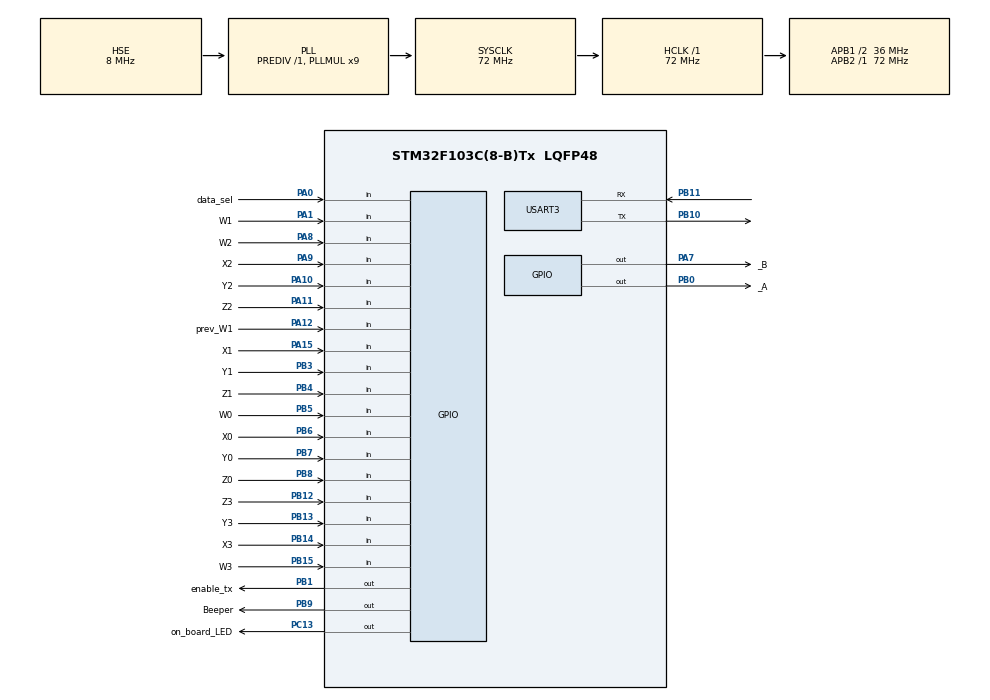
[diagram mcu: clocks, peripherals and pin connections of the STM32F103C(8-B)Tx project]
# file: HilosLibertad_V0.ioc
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Mcu.Family=STM32F1
NVIC.USART3_IRQn=true\:0\:0\:false\:false\:true\:true\:true
PB10.Mode=Asynchronous
PA10.GPIO_PuPd=GPIO_PULLDOWN
PB14.GPIO_Label=X3
PB0.GPIO_Label=_A
PB6.GPIO_Label=X0
PA11.GPIO_PuPd=GPIO_PULLDOWN
PB13.GPIO_Label=Y3
PB11.Signal=USART3_RX
PB13.Signal=GPIO_Input
PB15.Signal=GPIO_Input
RCC.SYSCLKSource=RCC_SYSCLKSOURCE_PLLCLK
ProjectManager.StackSize=0x400
PD1-OSC_OUT.Signal=RCC_OSC_OUT
PA15.GPIO_Label=X1
PA12.Signal=GPIO_Input
RCC.HCLKFreq_Value=72000000
RCC.APB2TimFreq_Value=72000000
PB6.Signal=GPIO_Input
PA1.GPIO_PuPd=GPIO_PULLDOWN
RCC.AHBFreq_Value=72000000
RCC.PLLMUL=RCC_PLL_MUL9
PB12.GPIO_Label=Z3
PB3.GPIO_PuPd=GPIO_PULLDOWN
PA14.Mode=Serial_Wire
PB1.GPIO_Label=enable_tx
PA10.GPIO_Label=Y2
PB7.Signal=GPIO_Input
PA8.Signal=GPIO_Input
PB7.GPIO_Label=Y0
Mcu.Package=LQFP48
PB9.Signal=GPIO_Output
PB14.GPIO_PuPd=GPIO_PULLDOWN
PB1.Signal=GPIO_Output
PB15.GPIO_PuPd=GPIO_PULLDOWN
PA10.Signal=GPIO_Input
PA15.Signal=GPIO_Input
PB5.GPIO_Label=W0
RCC.APB1TimFreq_Value=72000000
PA12.GPIO_PuPd=GPIO_PULLDOWN
PB4.Signal=GPIO_Input
PB3.GPIO_Label=Y1
PB7.GPIO_PuPd=GPIO_PULLDOWN
RCC.PLLSourceVirtual=RCC_PLLSOURCE_HSE
PD1-OSC_OUT.Mode=HSE-External-Oscillator
PB9.GPIO_Label=Beeper
PA9.GPIO_Label=X2
PB6.GPIO_PuPd=GPIO_NOPULL
PB8.GPIO_PuPd=GPIO_PULLDOWN
PC13-TAMPER-RTC.Signal=GPIO_Output
PA11.GPIO_Label=Z2
PD0-OSC_IN.Signal=RCC_OSC_IN
RCC.APB1CLKDivider=RCC_HCLK_DIV2
PA9.GPIO_PuPd=GPIO_PULLDOWN
PA12.GPIO_Label=prev_W1
PA0-WKUP.GPIO_Label=data_sel
PA0-WKUP.Signal=GPIO_Input
PA13.Signal=SYS_JTMS-SWDIO
PB8.GPIO_Label=Z0
PA8.GPIO_Label=W2
PB11.Mode=Asynchronous
ProjectManager.TargetToolchain=STM32CubeIDE
PA9.Signal=GPIO_Input
PB4.GPIO_PuPd=GPIO_PULLDOWN
RCC.USBFreq_Value=72000000
PA1.Signal=GPIO_Input
PD0-OSC_IN.Mode=HSE-External-Oscillator
PB10.Signal=USART3_TX
PB14.Signal=GPIO_Input
board=custom
PC13-TAMPER-RTC.GPIO_Label=on_board_LED
PB13.GPIO_PuPd=GPIO_PULLDOWN
RCC.APB2Freq_Value=72000000
PB4.GPIO_Label=Z1
PB15.GPIO_Label=W3
PA1.GPIO_Label=W1
PA13.Mode=Serial_Wire
Mcu.Name=STM32F103C(8-B)Tx
PB3.Signal=GPIO_Input
RCC.SYSCLKFreq_VALUE=72000000
PB5.Signal=GPIO_Input
PA7.GPIO_Label=_B
USART3.VirtualMode=VM_ASYNC
PB5.GPIO_PuPd=GPIO_NOPULL
PB9.PinState=GPIO_PIN_RESET
PA11.Signal=GPIO_Input
PA14.Signal=SYS_JTCK-SWCLK
ProjectManager.HeapSize=0x200
PA8.GPIO_PuPd=GPIO_PULLDOWN
NVIC.PriorityGroup=NVIC_PRIORITYGROUP_4
PA15.GPIO_PuPd=GPIO_PULLDOWN
PB8.Signal=GPIO_Input
PA0-WKUP.GPIO_PuPd=GPIO_PULLUP
PB12.GPIO_PuPd=GPIO_PULLDOWN
RCC.APB1Freq_Value=36000000
PB0.Signal=GPIO_Output
PB12.Signal=GPIO_Input
PA7.Signal=GPIO_Output

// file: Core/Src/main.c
/* USER CODE BEGIN Header */
/**
  ******************************************************************************
  * @file           : main.c
  * @brief          : Main program body
  ******************************************************************************
  * @attention
  *
  * <h2><center>&copy; Copyright (c) 2021 STMicroelectronics.
  * All rights reserved.</center></h2>
  *
  * This software component is licensed by ST under BSD 3-Clause license,
  * the "License"; You may not use this file except in compliance with the
  * License. You may obtain a copy of the License at:
  *                        opensource.org/licenses/BSD-3-Clause
  *
  ******************************************************************************
  */
/* USER CODE END Header */
#include "main.h"

/* USER CODE BEGIN Includes */
#include "alarm.h"
#include "dataSender.h"
#include "muxReader.h"
#include "pinConnections.h"
#include "timers.h"
#include "types.h"
/* USER CODE END Includes */

UART_HandleTypeDef huart3;

/* USER CODE BEGIN PV */
DS_UartInterruptionFlags uart_flags;
/* USER CODE END PV */

void SystemClock_Config(void);
static void MX_GPIO_Init(void);
static void MX_USART3_UART_Init(void);

/* USER CODE BEGIN 0 */
void HAL_UART_TxCpltCallback(UART_HandleTypeDef *huart){
    uart_flags.TxComplete = 1;
}

void HAL_UART_RxCpltCallback(UART_HandleTypeDef *huart){
    uart_flags.RxComplete = 1;
}
/* USER CODE END 0 */

int main(void)
{
  /* USER CODE BEGIN 1 */
	MuxReader reader;
	DataSender sender;

	sample new_sample;
	uint8_t already_sent_flag = 0;
  /* USER CODE END 1 */

  /* MCU Configuration--------------------------------------------------------*/

  /* Reset of all peripherals, Initializes the Flash interface and the Systick. */
  HAL_Init();

  /* Configure the system clock */
  SystemClock_Config();

  /* Initialize all configured peripherals */
  MX_GPIO_Init();
  MX_USART3_UART_Init();
  /* USER CODE BEGIN 2 */
	initMuxReader( &reader );
	initDataSender( &sender, &huart3 );
	initDS_UartInterruptionFlags( &uart_flags );
  /* USER CODE END 2 */

  /* Infinite loop */
	while( 1 ){

    /* USER CODE BEGIN 3 */
		FSM_MuxReader( &reader );
		FSM_DataSender( &sender, &uart_flags );

		// Si está listo para ser leído, y no se envió
		int aux_readerIsReady = muxReaderIsReady( &reader );
		if( aux_readerIsReady && already_sent_flag == 0 ){
			// Obtengo la lectura
			new_sample = getReadings( &reader );

			// Envío según el modo
			sendSample( &sender, new_sample );
			already_sent_flag = 1;
		}
		// Si no está listo para ser leído
		else if( !muxReaderIsReady( &reader ) ){
			// Renuevo el flag para el próximo envío de lectura
			already_sent_flag = 0;
		}
	}
  /* USER CODE END 3 */
}

void SystemClock_Config(void)
{
  RCC_OscInitTypeDef RCC_OscInitStruct = {0};
  RCC_ClkInitTypeDef RCC_ClkInitStruct = {0};

  /** Initializes the RCC Oscillators according to the specified parameters
  * in the RCC_OscInitTypeDef structure.
  */
  RCC_OscInitStruct.OscillatorType = RCC_OSCILLATORTYPE_HSE;
  RCC_OscInitStruct.HSEState = RCC_HSE_ON;
  RCC_OscInitStruct.HSEPredivValue = RCC_HSE_PREDIV_DIV1;
  RCC_OscInitStruct.HSIState = RCC_HSI_ON;
  RCC_OscInitStruct.PLL.PLLState = RCC_PLL_ON;
  RCC_OscInitStruct.PLL.PLLSource = RCC_PLLSOURCE_HSE;
  RCC_OscInitStruct.PLL.PLLMUL = RCC_PLL_MUL9;
  if (HAL_RCC_OscConfig(&RCC_OscInitStruct) != HAL_OK)
  {
    Error_Handler();
  }
  /** Initializes the CPU, AHB and APB buses clocks
  */
  RCC_ClkInitStruct.ClockType = RCC_CLOCKTYPE_HCLK|RCC_CLOCKTYPE_SYSCLK
                              |RCC_CLOCKTYPE_PCLK1|RCC_CLOCKTYPE_PCLK2;
  RCC_ClkInitStruct.SYSCLKSource = RCC_SYSCLKSOURCE_PLLCLK;
  RCC_ClkInitStruct.AHBCLKDivider = RCC_SYSCLK_DIV1;
  RCC_ClkInitStruct.APB1CLKDivider = RCC_HCLK_DIV2;
  RCC_ClkInitStruct.APB2CLKDivider = RCC_HCLK_DIV1;

  if (HAL_RCC_ClockConfig(&RCC_ClkInitStruct, FLASH_LATENCY_2) != HAL_OK)
  {
    Error_Handler();
  }
}

static void MX_USART3_UART_Init(void)
{

  huart3.Instance = USART3;
  huart3.Init.BaudRate = 115200;
  huart3.Init.WordLength = UART_WORDLENGTH_8B;
  huart3.Init.StopBits = UART_STOPBITS_1;
  huart3.Init.Parity = UART_PARITY_NONE;
  huart3.Init.Mode = UART_MODE_TX_RX;
  huart3.Init.HwFlowCtl = UART_HWCONTROL_NONE;
  huart3.Init.OverSampling = UART_OVERSAMPLING_16;
  if (HAL_UART_Init(&huart3) != HAL_OK)
  {
    Error_Handler();
  }

}

static void MX_GPIO_Init(void)
{
  GPIO_InitTypeDef GPIO_InitStruct = {0};

  /* GPIO Ports Clock Enable */
  __HAL_RCC_GPIOC_CLK_ENABLE();
  __HAL_RCC_GPIOD_CLK_ENABLE();
  __HAL_RCC_GPIOA_CLK_ENABLE();
  __HAL_RCC_GPIOB_CLK_ENABLE();

  /*Configure GPIO pin Output Level */
  HAL_GPIO_WritePin(on_board_LED_GPIO_Port, on_board_LED_Pin, GPIO_PIN_RESET);

  /*Configure GPIO pin Output Level */
  HAL_GPIO_WritePin(_B_GPIO_Port, _B_Pin, GPIO_PIN_RESET);

  /*Configure GPIO pin Output Level */
  HAL_GPIO_WritePin(GPIOB, _A_Pin|enable_tx_Pin|Beeper_Pin, GPIO_PIN_RESET);

  /*Configure GPIO pin : on_board_LED_Pin */
  GPIO_InitStruct.Pin = on_board_LED_Pin;
  GPIO_InitStruct.Mode = GPIO_MODE_OUTPUT_PP;
  GPIO_InitStruct.Pull = GPIO_NOPULL;
  GPIO_InitStruct.Speed = GPIO_SPEED_FREQ_LOW;
  HAL_GPIO_Init(on_board_LED_GPIO_Port, &GPIO_InitStruct);

  /*Configure GPIO pin : data_sel_Pin */
  GPIO_InitStruct.Pin = data_sel_Pin;
  GPIO_InitStruct.Mode = GPIO_MODE_INPUT;
  GPIO_InitStruct.Pull = GPIO_PULLUP;
  HAL_GPIO_Init(data_sel_GPIO_Port, &GPIO_InitStruct);

  /*Configure GPIO pins : W1_Pin W2_Pin X2_Pin Y2_Pin
                           Z2_Pin prev_W1_Pin X1_Pin */
  GPIO_InitStruct.Pin = W1_Pin|W2_Pin|X2_Pin|Y2_Pin
                          |Z2_Pin|prev_W1_Pin|X1_Pin;
  GPIO_InitStruct.Mode = GPIO_MODE_INPUT;
  GPIO_InitStruct.Pull = GPIO_PULLDOWN;
  HAL_GPIO_Init(GPIOA, &GPIO_InitStruct);

  /*Configure GPIO pin : _B_Pin */
  GPIO_InitStruct.Pin = _B_Pin;
  GPIO_InitStruct.Mode = GPIO_MODE_OUTPUT_PP;
  GPIO_InitStruct.Pull = GPIO_NOPULL;
  GPIO_InitStruct.Speed = GPIO_SPEED_FREQ_LOW;
  HAL_GPIO_Init(_B_GPIO_Port, &GPIO_InitStruct);

  /*Configure GPIO pins : _A_Pin enable_tx_Pin Beeper_Pin */
  GPIO_InitStruct.Pin = _A_Pin|enable_tx_Pin|Beeper_Pin;
  GPIO_InitStruct.Mode = GPIO_MODE_OUTPUT_PP;
  GPIO_InitStruct.Pull = GPIO_NOPULL;
  GPIO_InitStruct.Speed = GPIO_SPEED_FREQ_LOW;
  HAL_GPIO_Init(GPIOB, &GPIO_InitStruct);

  /*Configure GPIO pins : Z3_Pin Y3_Pin X3_Pin W3_Pin
                           Y1_Pin Z1_Pin Y0_Pin Z0_Pin */
  GPIO_InitStruct.Pin = Z3_Pin|Y3_Pin|X3_Pin|W3_Pin
                          |Y1_Pin|Z1_Pin|Y0_Pin|Z0_Pin;
  GPIO_InitStruct.Mode = GPIO_MODE_INPUT;
  GPIO_InitStruct.Pull = GPIO_PULLDOWN;
  HAL_GPIO_Init(GPIOB, &GPIO_InitStruct);

  /*Configure GPIO pins : W0_Pin X0_Pin */
  GPIO_InitStruct.Pin = W0_Pin|X0_Pin;
  GPIO_InitStruct.Mode = GPIO_MODE_INPUT;
  GPIO_InitStruct.Pull = GPIO_NOPULL;
  HAL_GPIO_Init(GPIOB, &GPIO_InitStruct);

}

void Error_Handler(void)
{
  __disable_irq();
  while (1)
  {
  }
}

/************************ (C) COPYRIGHT STMicroelectronics *****END OF FILE****/
